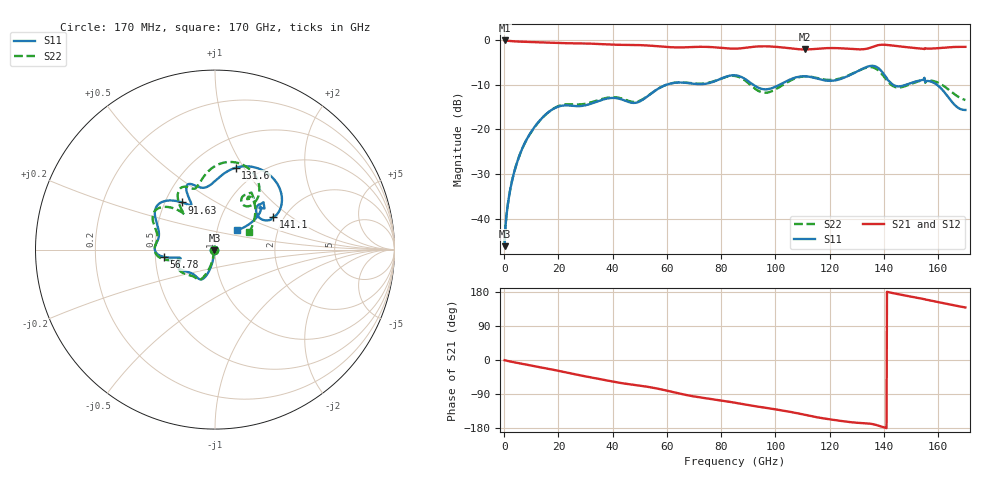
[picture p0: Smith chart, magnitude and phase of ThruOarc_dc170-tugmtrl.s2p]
!QAlibria Port Mapping:1,2
!QAlibria TraceName:S11,S21,S12,S22
# Hz S RI R 50
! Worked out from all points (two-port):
!   1000 points, 170 MHz to 170 GHz, reference 50 ohm
!   highest |S21| = -0.06 dB at 170 MHz (marker M1); lowest = -2.1 dB at 110.8 GHz (marker M2)
!   |S21| within 3 dB of the highest: start of sweep to end of sweep
!   lowest |S11| = -46.2 dB at 170 MHz (marker M3), VSWR 1.01, Z = 49.7 - j0.356 ohm
!   |S11| at or under -10 dB: start of sweep to 59.76 GHz; 91.85 GHz to 101.5 GHz (9.636 GHz wide, 9.97 % of centre); 159.5 GHz to end of sweep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
!   |S22| runs from -46.1 to -6.0 dB; largest |S21 - S12| = 0.021
!   S11 on the Smith chart (normalised r, x): 170 MHz: 0.99, -0.01; 56.78 GHz: 0.56, -0.05; 91.63 GHz: 0.61, +0.36; 131.6 GHz: 0.79, +0.92; 141.1 GHz: 1.76, +0.74; 170 GHz: 1.24, +0.28
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1.7e8  -0.00336 -0.00358  0.9929 -0.00926  0.9929 -0.00926  -0.00342 -0.00356
1.53e9  -0.00636 -0.0144  0.9812 -0.0492  0.9811 -0.0492  -0.00643 -0.0144
3.23e9  -0.00763 -0.0281  0.9689 -0.0916  0.9684 -0.0914  -0.00816 -0.0281
9.01e9  -0.0182 -0.0823  0.9305 -0.2174  0.9277 -0.2164  -0.0212 -0.0811
1.819e10  -0.0617 -0.1588  0.8398 -0.4073  0.8344 -0.4065  -0.0679 -0.157
2.856e10  -0.1226 -0.1361  0.6922 -0.6075  0.692 -0.6072  -0.1168 -0.1513
3.944e10  -0.2002 -0.1025  0.4984 -0.7409  0.4972 -0.7388  -0.1983 -0.1152
4.879e10  -0.1941 -0.0463  0.3539 -0.8083  0.3543 -0.8058  -0.1962 -0.0562
5.678e10  -0.2831 -0.041  0.2082 -0.8287  0.2072 -0.8288  -0.2804 -0.0558
8.517e10  -0.3163 0.2515  -0.3137 -0.7392  -0.3144 -0.7338  -0.3297 0.2208
9.163e10  -0.1824 0.2624  -0.4321 -0.7231  -0.4278 -0.7024  -0.2043 0.219
9.724e10  -0.1315 0.2503  -0.5131 -0.6804  -0.509 -0.6677  -0.1696 0.1963
1.1084e11  -0.1471 0.3653  -0.6422 -0.4548  -0.6356 -0.4533  -0.1892 0.3445
1.1339e11  -0.1258 0.363  -0.6759 -0.414  -0.6661 -0.4112  -0.1654 0.3505
1.2189e11  -0.0401 0.3516  -0.7593 -0.2982  -0.7521 -0.2933  -0.1031 0.3466
1.3158e11  0.1151 0.4562  -0.7673 -0.1852  -0.7656 -0.183  0.00626 0.4688
1.3753e11  0.3602 0.3412  -0.8667 -0.1174  -0.8647 -0.1137  0.2254 0.4104
1.411e11  0.325 0.1813  -0.8833 0.00045  -0.8803 0.00265  0.2282 0.2714
1.4178e11  0.3078 0.1657  -0.8798 0.0193  -0.8766 0.021  0.2157 0.2564
1.4824e11  0.2289 0.2205  -0.8223 0.1492  -0.8185 0.146  0.146 0.2722
1.5759e11  0.2562 0.2252  -0.7374 0.3243  -0.7281 0.3092  0.2065 0.2846
1.7e11  0.1225 0.1107  -0.6313 0.5571  -0.6291 0.5539  0.1901 0.0963
